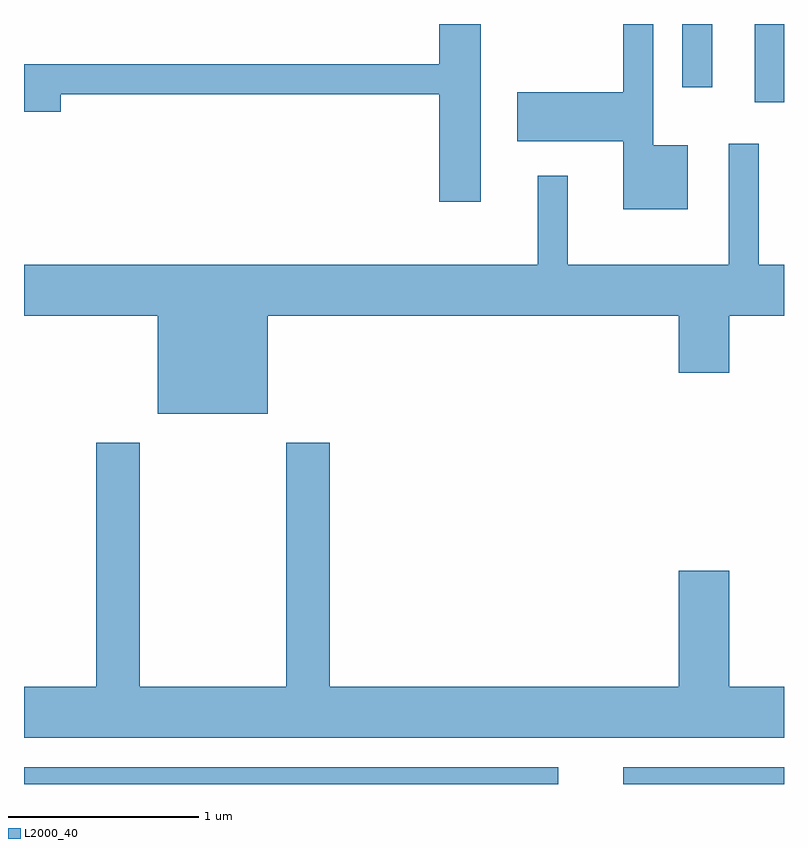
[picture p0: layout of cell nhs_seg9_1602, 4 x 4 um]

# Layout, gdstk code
import gdstk
lib = gdstk.Library(unit=1e-6, precision=1e-09)
def R(c, l, rs):  # rectangles x0, y0, x1, y1
    for r in rs: c.add(gdstk.rectangle(r[:2], r[2:], *l))
def P(c, l, *ps):  # polygons
    for p in ps: c.add(gdstk.Polygon(p, *l))
L2000_40 = (2000, 40)

nhs_seg9_1602 = lib.new_cell('nhs_seg9_1602')
R(nhs_seg9_1602, L2000_40, [(231.611,2020.432,234.424,2020.519), (234.766,2020.432,235.611,2020.519), (235.456,2024.021,235.611,2024.432), (235.076,2024.098,235.234,2024.432)])
P(nhs_seg9_1602, L2000_40, [(235.104,2023.794),(234.924,2023.794),(234.924,2024.432),(234.766,2024.432),(234.766,2024.074),(234.206,2024.074),(234.206,2023.816),(234.766,2023.816),(234.766,2023.456),(235.104,2023.456)],
  [(234.014,2024.432),(233.796,2024.432),(233.796,2024.219),(231.611,2024.219),(231.611,2023.971),(231.804,2023.971),(231.804,2024.061),(233.796,2024.061),(233.796,2023.496),(234.014,2023.496)],
  [(232.894,2022.896),(235.056,2022.896),(235.056,2022.596),(235.324,2022.596),(235.324,2022.896),(235.611,2022.896),(235.611,2023.164),(235.479,2023.164),(235.479,2023.803),(235.321,2023.803),(235.321,2023.164),(234.474,2023.164),(234.474,2023.633),(234.316,2023.633),(234.316,2023.164),(231.611,2023.164),(231.611,2022.896),(232.316,2022.896),(232.316,2022.381),(232.894,2022.381)],
  [(235.611,2020.944),(235.324,2020.944),(235.324,2021.554),(235.056,2021.554),(235.056,2020.944),(233.219,2020.944),(233.219,2022.229),(232.991,2022.229),(232.991,2020.944),(232.219,2020.944),(232.219,2022.229),(231.991,2022.229),(231.991,2020.944),(231.611,2020.944),(231.611,2020.676),(235.611,2020.676)])

lib.write_gds('nhs_seg9_1602.gds')
